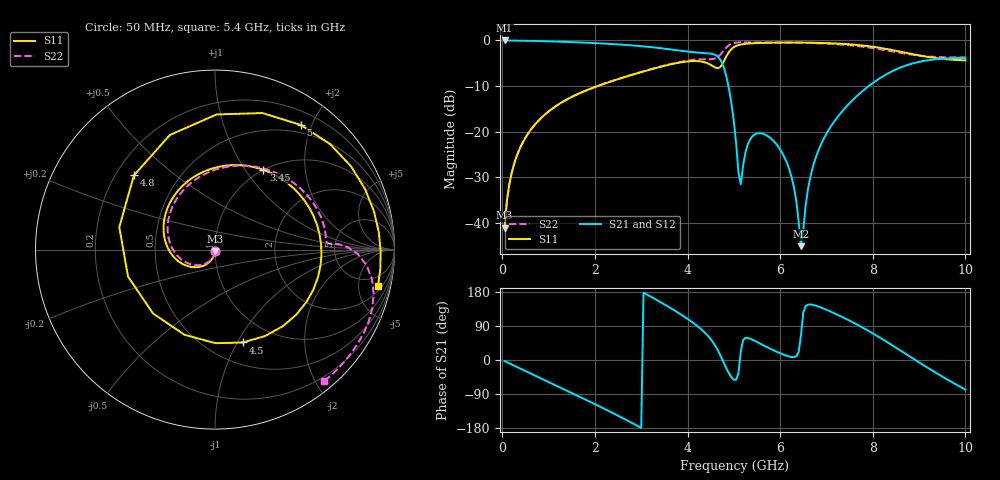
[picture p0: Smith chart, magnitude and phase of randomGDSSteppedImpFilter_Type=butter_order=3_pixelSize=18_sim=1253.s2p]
! freq	dB(S11)	phase(S11)	dB(S12)	phase(S12)
!  dB(S21)	phase(S21)	dB(S22)	phase(S22)
!S-par simulation data
#  GHz  S  DB  R 50
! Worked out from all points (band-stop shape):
!   200 points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, 50 MHz to 10 GHz, reference 50 ohm
!   highest |S21| = -0.01 dB at 50 MHz (marker M1); lowest = -45.1 dB at 6.45 GHz (marker M2)
!   |S21| within 3 dB of the highest: start of sweep to 4.554 GHz
!   lowest |S11| = -41.0 dB at 50 MHz (marker M3), VSWR 1.02, Z = 50 - j0.889 ohm
!   |S11| at or under -10 dB: start of sweep to 2.056 GHz
!   |S22| runs from -41.0 to -0.4 dB; largest |S21 - S12| = 0
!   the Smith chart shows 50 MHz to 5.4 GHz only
!   S11 on the Smith chart (normalised r, x): 50 MHz: 1.00, -0.02; 3.45 GHz: 1.00, +1.22; 4.5 GHz: 0.72, -1.05; 4.8 GHz: 0.27, +0.36; 5 GHz: 0.38, +1.84; 5.4 GHz: 2.73, -8.23
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0.05  -41.01 -91.5  -0.01 -2.9  -0.01 -2.9  -41.02 -91.9
0.2  -29.14 -100.7  -0.02 -11.6  -0.02 -11.6  -29.14 -102.3
0.5  -21.31 -117.5  -0.07 -28.9  -0.07 -28.9  -21.32 -121.3
1.75  -11.21 172.9  -0.47 -101.5  -0.47 -101.5  -11.21 162.1
2.65  -8.00 117.2  -0.97 -156.4  -0.97 -156.4  -7.98 108.1
3.4  -5.82 62.8  -1.68 153.8  -1.68 153.8  -5.76 63.3
3.45  -5.69 58.8  -1.74 150.3  -1.74 150.3  -5.62 60.3
4.15  -4.51 -8.6  -2.60 95.5  -2.60 95.5  -4.23 19.4
4.5  -5.35 -73.3  -2.89 55.0  -2.89 55.0  -4.12 4.3
4.65  -6.09 -134.2  -3.50 26.7  -3.50 26.7  -3.66 2.9
4.8  -4.26 137.5  -6.42 -12.0  -6.42 -12.0  -1.98 -1.8
5  -1.48 55.4  -17.73 -51.9  -17.73 -51.9  -0.58 -20.5
5.05  -1.21 42.4  -22.56 -52.1  -22.56 -52.1  -0.49 -25.0
5.15  -0.90 21.9  -31.50 22.6  -31.50 22.6  -0.42 -33.1
5.4  -0.62 -12.5  -21.01 53.6  -21.01 53.6  -0.42 -50.2
6.1  -0.46 -68.6  -25.74 13.0  -25.74 13.0  -0.46 -90.5
6.45  -0.47 -89.8  -45.06 65.9  -45.06 65.9  -0.51 -110.1
6.7  -0.50 -104.0  -27.94 145.6  -27.94 145.6  -0.58 -124.5
7.6  -0.93 -153.0  -12.73 97.4  -12.73 97.4  -1.16 175.4
8.35  -1.97 164.5  -7.12 44.2  -7.12 44.2  -2.28 107.8
9.15  -3.55 117.0  -4.41 -17.8  -4.41 -17.8  -3.48 26.4
10  -4.37 57.6  -3.85 -78.3  -3.85 -78.3  -3.73 -38.0
